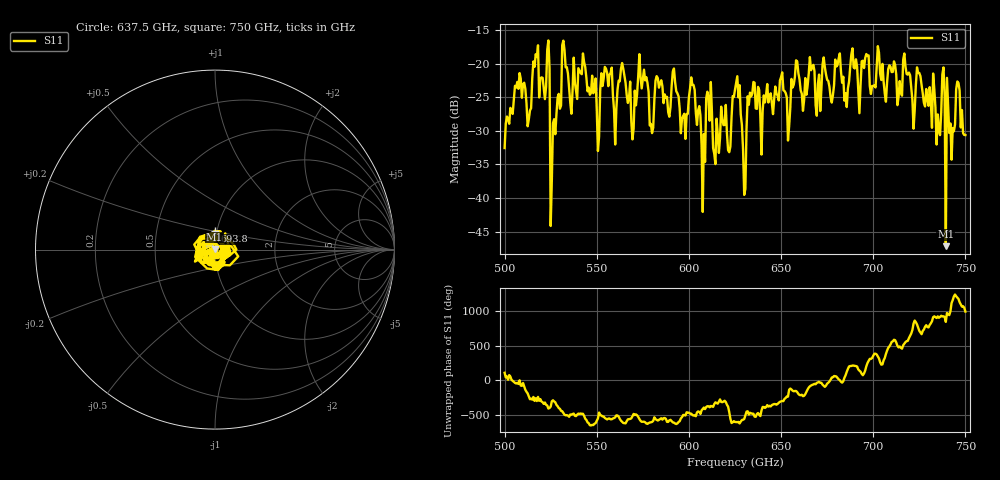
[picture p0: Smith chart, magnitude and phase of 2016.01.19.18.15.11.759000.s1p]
!Created with skrf (http://scikit-rf.org).
# GHz S RI R 50.0
!freq ReS11 ImS11
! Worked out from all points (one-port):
!   401 points, 500 GHz to 750 GHz, reference 50 ohm
!   lowest |S11| = -47.2 dB at 739.4 GHz (marker M1), VSWR 1.01, Z = 49.8 + j0.373 ohm
!   |S11| at or under -10 dB: start of sweep to end of sweep
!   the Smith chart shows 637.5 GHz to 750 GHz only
!   S11 on the Smith chart (normalised r, x): 637.5 GHz: 0.94, -0.12; 693.8 GHz: 0.97, +0.20; 750 GHz: 1.00, -0.06
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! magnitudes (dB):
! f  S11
! 500 GHz  -32.6
! 507.5 GHz  -23.7
! 513.1 GHz  -28.3
! 516.9 GHz  -18.6
! 523.1 GHz  -18.0
! 526.2 GHz  -28.9
! 531.2 GHz  -17.3
! 550.6 GHz  -33.0
! 562.5 GHz  -22.6
! 570 GHz  -29.6
! 574.4 GHz  -23.7
! 580 GHz  -30.3
! 593.8 GHz  -24.4
! 601.9 GHz  -23.2
! 607.5 GHz  -42.1
! 610.6 GHz  -25.1
! 615 GHz  -28.2
! 625 GHz  -23.9
! 630 GHz  -39.5
! 633.1 GHz  -24.3
! 637.5 GHz  -23.5
! 656.2 GHz  -23.6
! 687.5 GHz  -20.5
! 693.8 GHz  -19.6
! 718.8 GHz  -21.6
! 739.4 GHz  -47.2
! 746.2 GHz  -22.9
! 750 GHz  -30.6
